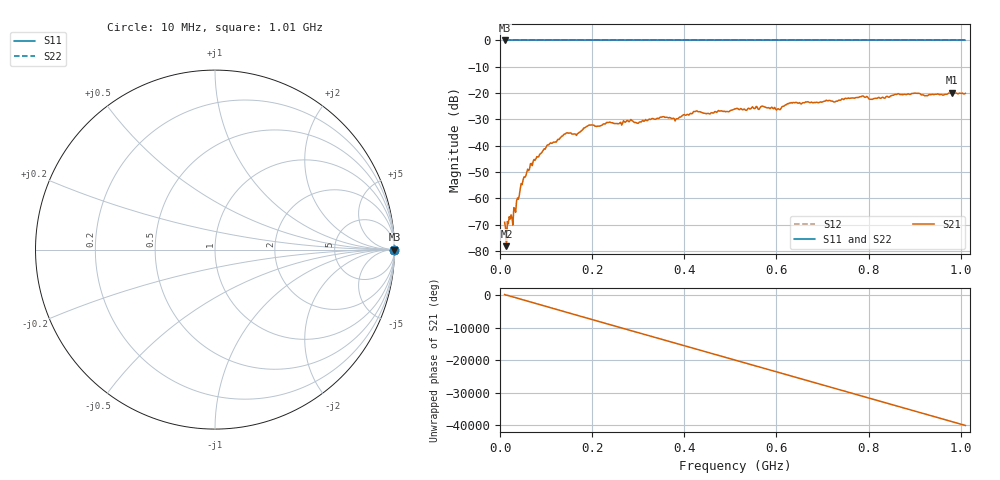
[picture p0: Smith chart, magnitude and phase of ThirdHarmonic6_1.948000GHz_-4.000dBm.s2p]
! 8/16/2025 11:27:23 PM
! C:\ANRITSUVNA\TEMP\TEMP.S2P
! CHANNEL.1
! TR.MEASUREMENT
! RAW.DATA
! RF.CORRECTION.OFF
! AVERAGING.OFF
! IF.BANDWIDTH: 5KHZ
! SWEEPTYPE:  FREQ.SWEEP(Linear)
! Reference Plane Port Info
! PORT:  PORT1  PORT2
! DISTANCE:  0  m  0  m
! TIME:  0  s  0  s
! PHASE.OFFSET:  0  deg.  0  deg.
! LOSS:  0  dB  0  dB
! REF.LOSS:  0  dB  0  dB
! REF.FREQ:  0  Hz  0  Hz
! Power Info
! POWER:  -20  dBm  -20  dBm
! EFF.POWER:  -20  dBm  -20  dBm
! SOURCE.ATTEN:  0  dB  0  dB
! TEST.ATTEN:  0  dB  0  dB
# GHZ S RI R 50.0
! FREQ.GHZ  S11RE  S11IM  S21RE  S21IM  S12RE  S12IM  S22RE  S22IM
!; PortSelection: Port_12
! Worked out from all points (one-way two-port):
!   501 points, 10 MHz to 1.01 GHz, reference 50 ohm
!   highest |S21| = -19.86 dB at 980 MHz (marker M1); lowest = -78.2 dB at 14 MHz (marker M2)
!   lowest |S11| = 0.0 dB at 10 MHz (marker M3)
!   |S11| at or under -10 dB: nowhere
!   |S22| runs from 0.0 to 0.0 dB; largest |S21 - S12| = 1.1
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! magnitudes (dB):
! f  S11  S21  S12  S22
! 10 MHz  0.0  -69.1  0.0  0.0
! 14 MHz  0.0  -78.2  0.0  0.0
! 18 MHz  0.0  -69.7  0.0  0.0
! 20 MHz  0.0  -67.0  0.0  0.0
! 30 MHz  0.0  -63.5  0.0  0.0
! 48 MHz  0.0  -54.8  0.0  0.0
! 70 MHz  0.0  -47.6  0.0  0.0
! 106 MHz  0.0  -39.7  0.0  0.0
! 142 MHz  0.0  -35.5  0.0  0.0
! 178 MHz  0.0  -34.1  0.0  0.0
! 196 MHz  0.0  -32.2  0.0  0.0
! 344 MHz  0.0  -29.7  0.0  0.0
! 382 MHz  0.0  -29.8  0.0  0.0
! 424 MHz  0.0  -27.0  0.0  0.0
! 452 MHz  0.0  -27.7  0.0  0.0
! 510 MHz  0.0  -26.0  0.0  0.0
! 604 MHz  0.0  -25.9  0.0  0.0
! 632 MHz  0.0  -23.6  0.0  0.0
! 678 MHz  0.0  -23.7  0.0  0.0
! 844 MHz  0.0  -21.6  0.0  0.0
! 980 MHz  0.0  -19.9  0.0  0.0
! 1.01 GHz  0.0  -20.1  0.0  0.0
